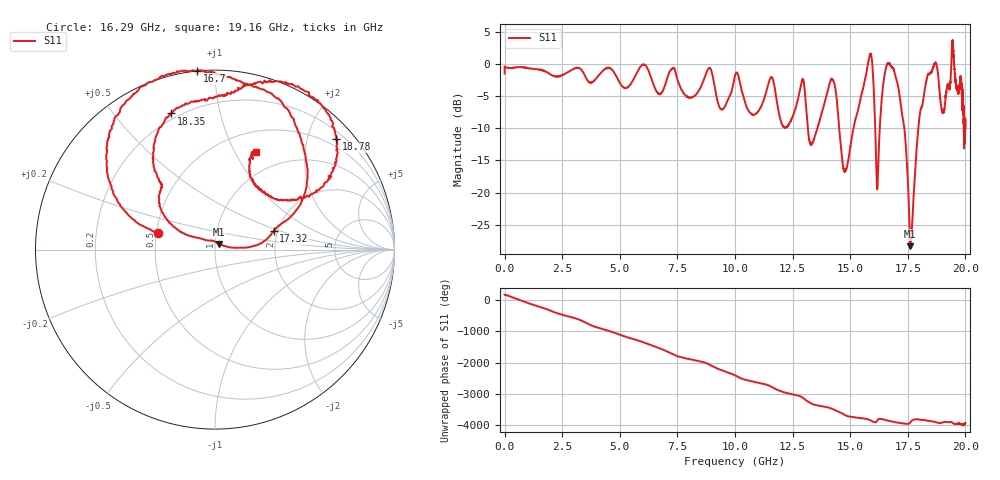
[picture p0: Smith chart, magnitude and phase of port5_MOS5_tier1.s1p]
! Created with skrf 1.8.0 (http://scikit-rf.org).
# GHz S RI R 50.0
!freq ReS11 ImS11
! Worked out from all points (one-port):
!   10001 points, 1 MHz to 20 GHz, reference 50 ohm
!   lowest |S11| = -28.3 dB at 17.61 GHz (marker M1), VSWR 1.08, Z = 52.1 + j3.3 ohm
!   |S11| at or under -10 dB: 13.16 GHz to 13.58 GHz (415.1 MHz wide, 3.11 % of centre); 14.52 GHz to 15.14 GHz (618.1 MHz wide, 4.17 % of centre); 17.35 GHz to 17.96 GHz (610.5 MHz wide, 3.46 % of centre) (the widest 3 of 11)
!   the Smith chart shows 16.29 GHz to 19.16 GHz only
!   S11 on the Smith chart (normalised r, x): 16.29 GHz: 0.51, +0.11; 16.7 GHz: -0.00, +0.91; 17.32 GHz: 1.90, +0.45; 18.35 GHz: 0.17, +0.71; 18.78 GHz: 0.35, +2.54; 19.16 GHz: 0.72, +1.22
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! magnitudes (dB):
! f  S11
! 1 MHz  -1.5
! 2.501 GHz  -1.8
! 5.001 GHz  -3.0
! 7.501 GHz  -2.4
! 8.905 GHz  -0.7
! 9.437 GHz  -7.1
! 10 GHz  -1.8
! 10.71 GHz  -7.8
! 11.58 GHz  -2.1
! 12.5 GHz  -8.2
! 12.94 GHz  -2.3
! 13.34 GHz  -12.4
! 14.22 GHz  -2.4
! 14.72 GHz  -16.4
! 15 GHz  -13.1
! 15.86 GHz  1.3
! 16.16 GHz  -18.7
! 16.29 GHz  -9.6
! 16.7 GHz  0.0
! 17.32 GHz  -9.3
! 17.5 GHz  -18.0
! 17.61 GHz  -28.3
! 17.99 GHz  -8.8
! 18.35 GHz  -2.0
! 18.78 GHz  -0.8
! 19.16 GHz  -4.6
! 19.47 GHz  2.1
! 20 GHz  -8.7
